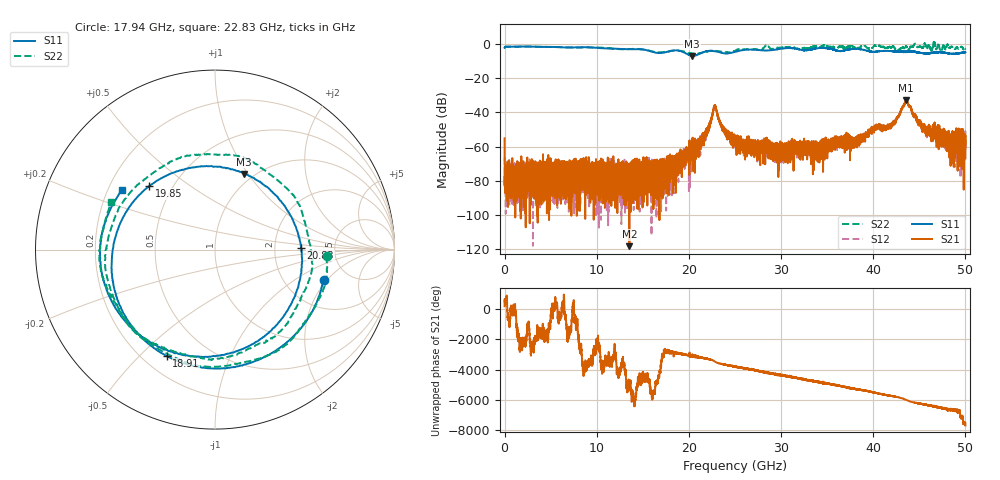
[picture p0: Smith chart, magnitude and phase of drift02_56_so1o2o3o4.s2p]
!Created with skrf (http://scikit-rf.org).
# Hz S RI R 50.0
!freq ReS11 ImS11 ReS21 ImS21 ReS12 ImS12 ReS22 ImS22
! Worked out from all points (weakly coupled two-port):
!   10001 points, 300 kHz to 50 GHz, reference 50 ohm
!   highest |S21| = -32.89 dB at 43.58 GHz (marker M1); lowest = -118.4 dB at 13.54 GHz (marker M2)
!   lowest |S11| = -6.9 dB at 20.33 GHz (marker M3), VSWR 2.64, Z = 45.3 + j47.9 ohm
!   |S11| at or under -10 dB: nowhere
!   |S22| runs from -5.7 to 2.2 dB; largest |S21 - S12| = 0.0032
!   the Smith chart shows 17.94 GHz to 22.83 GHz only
!   S11 on the Smith chart (normalised r, x): 17.94 GHz: 3.29, -1.81; 18.91 GHz: 0.29, -0.60; 19.85 GHz: 0.37, +0.36; 20.83 GHz: 2.84, +0.08; 22.83 GHz: 0.26, +0.28
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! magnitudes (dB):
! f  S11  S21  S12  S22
! 300 kHz  -2.1  -55.1  -66.3  -2.0
! 255.3 MHz  -1.4  -71.9  -73.0  -1.4
! 8.335 GHz  -1.7  -69.4  -81.6  -1.9
! 13.54 GHz  -2.9  -118.4  -81.3  -2.8
! 16.67 GHz  -5.2  -81.2  -73.1  -4.7
! 17.94 GHz  -4.1  -66.8  -73.6  -4.1
! 18.91 GHz  -3.7  -66.9  -71.6  -3.9
! 19.85 GHz  -5.9  -64.2  -65.3  -5.0
! 20.33 GHz  -6.9  -58.6  -58.1  -5.5
! 20.83 GHz  -6.4  -64.1  -59.4  -5.5
! 21.83 GHz  -4.2  -52.5  -56.2  -4.3
! 22.83 GHz  -4.2  -35.9  -35.7  -3.9
! 23.72 GHz  -5.2  -49.5  -49.8  -4.6
! 25 GHz  -4.5  -58.4  -53.8  -3.9
! 29.29 GHz  -3.3  -62.9  -65.1  -2.5
! 33.34 GHz  -3.0  -58.9  -60.4  -1.6
! 38.2 GHz  -2.7  -56.7  -56.8  -2.4
! 41.67 GHz  -4.0  -47.6  -47.8  -2.0
! 43.58 GHz  -4.7  -32.9  -33.4  -1.2
! 45.65 GHz  -5.4  -49.9  -50.2  0.0
! 49.75 GHz  -4.8  -53.4  -60.4  -2.6
! 50 GHz  -4.7  -66.9  -57.6  -2.6
